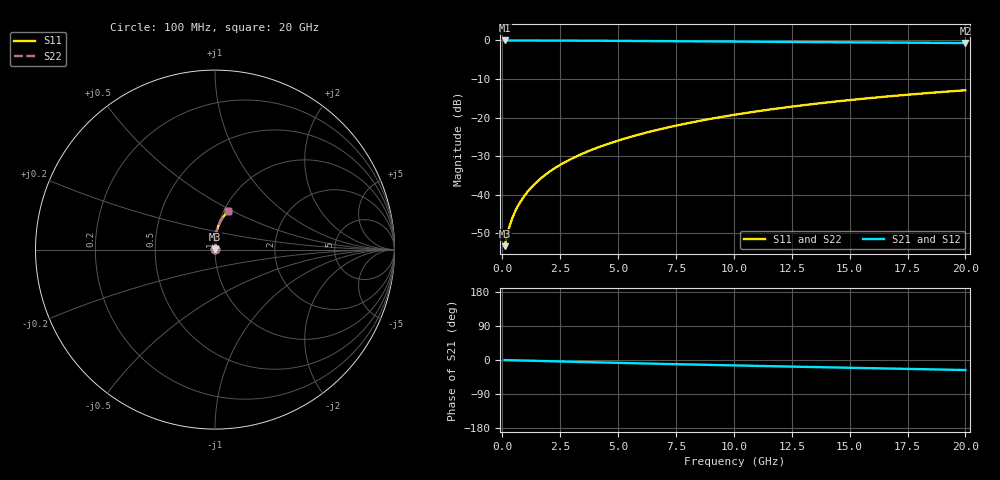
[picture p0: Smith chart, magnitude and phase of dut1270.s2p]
! Touchstone file exported from HFSS 2024.1.0
!  File:  C:/UserFiles/LocalFiles/RDL_TSV_Batchsim/temp_RDL_bottom_1270_1780246224.aedt
!  Generated:  12:52:19 AM Jun  1, 2026
!  Design:  RDL_bottom
!  Project:  temp_RDL_bottom_1270_1780246224
!  Setup:  Setup1
!  Solution:  Sweep
! Variables:
!  dtsv = 10.80580581um
!  hbump = 3um
!  htsv = 68.84um
!  ldown = 402.99um
!  lrdl = 100um
!  p = 40
!  p1 = 40.34um
!  rhole = 1um
!  t = 450um
!  tdown = 3.97um
!  trdl = 3.915915916um
!  wdown = 22.03um
!  wrdl = 20um
# GHz S MA R 50.000000
! Terminal data exported
! Port[1] = RDL1_T1
! Port[2] = RDL1_T2
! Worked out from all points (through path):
!   200 points, 100 MHz to 20 GHz, reference 50 ohm
!   highest |S21| = -0.02 dB at 100 MHz (marker M1); lowest = -0.7 dB at 20 GHz (marker M2)
!   group delay of S21, straight-line fit = 3.64 ps
!   lowest |S11| = -53.4 dB at 100 MHz (marker M3), VSWR 1.00, Z = 50.2 + j0.113 ohm
!   |S11| at or under -10 dB: start of sweep to end of sweep
!   |S22| runs from -53.4 to -12.9 dB; largest |S21 - S12| = 3.5e-15
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0.1  0.002146 31.5  0.9982 -0.2  0.9982 -0.2  0.002146 31.5
! Gamma 0 0 0 0
! Port Impedance 50 0 50 0
0.2  0.00292 48.6  0.998 -0.3  0.998 -0.3  0.00292 48.6
0.3  0.003793 57.4  0.9979 -0.5  0.9979 -0.5  0.003793 57.4
0.4  0.004676 62.8  0.9978 -0.6  0.9978 -0.6  0.004675 62.8
0.5  0.005557 66.6  0.9976 -0.8  0.9976 -0.8  0.005556 66.5
0.6  0.006441 69.4  0.9975 -1.0  0.9975 -1.0  0.006439 69.4
0.8  0.008226 73.6  0.9973 -1.3  0.9973 -1.3  0.008224 73.6
1.1  0.01096 77.7  0.997 -1.7  0.997 -1.7  0.01096 77.7
1.3  0.01281 79.5  0.9967 -2.0  0.9967 -2.0  0.01281 79.5
1.6  0.01563 81.6  0.9963 -2.5  0.9963 -2.5  0.01563 81.6
2.1  0.02042 83.8  0.9953 -3.3  0.9953 -3.3  0.02042 83.8
2.7  0.0263 85.4  0.9939 -4.2  0.9939 -4.2  0.0263 85.4
3.5  0.03437 86.7  0.9916 -5.4  0.9916 -5.4  0.03437 86.7
4.2  0.04164 87.2  0.9892 -6.4  0.9892 -6.4  0.04164 87.2
5  0.0502 87.5  0.9863 -7.6  0.9863 -7.6  0.0502 87.5
6.8  0.07033 87.1  0.979 -10.1  0.979 -10.1  0.07034 87.1
8.4  0.08903 86.0  0.9721 -12.2  0.9721 -12.2  0.08903 86.0
10.1  0.1094 84.3  0.9648 -14.4  0.9648 -14.4  0.1094 84.3
11.7  0.1287 82.4  0.9581 -16.5  0.9581 -16.5  0.1287 82.4
13.4  0.1493 80.3  0.951 -18.6  0.951 -18.6  0.1493 80.3
16.7  0.1883 75.8  0.9375 -22.6  0.9375 -22.6  0.1883 75.8
20  0.2257 71.4  0.9241 -26.5  0.9241 -26.5  0.2257 71.4
